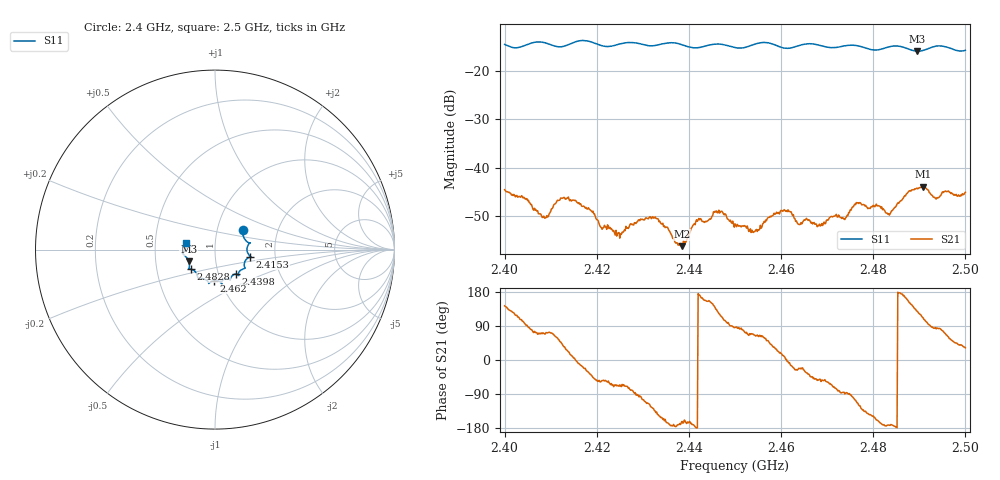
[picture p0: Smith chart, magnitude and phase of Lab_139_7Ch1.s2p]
# Hz S RI R 50
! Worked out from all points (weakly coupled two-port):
!   601 points, 2.4 GHz to 2.5 GHz, reference 50 ohm
!   highest |S21| = -43.96 dB at 2.4908 GHz (marker M1); lowest = -56.3 dB at 2.4385 GHz (marker M2)
!   lowest |S11| = -15.9 dB at 2.4895 GHz (marker M3), VSWR 1.38, Z = 37 - j5 ohm
!   |S11| at or under -10 dB: start of sweep to end of sweep
!   S12 and S22 are empty: the file has one direction only
!   S11 on the Smith chart (normalised r, x): 2.4 GHz: 1.33, +0.30; 2.4153 GHz: 1.48, -0.12; 2.4398 GHz: 1.21, -0.34; 2.462 GHz: 0.93, -0.33; 2.4828 GHz: 0.74, -0.17; 2.5 GHz: 0.72, +0.06
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2.4e9  0.1554 0.1071  -0.00472 0.00356  0 0  0 0
2.4085e9  0.1941 0.0365  0.00105 0.00297  0 0  0 0
2.412e9  0.178 -0.000236  0.00306 0.00346  0 0  0 0
2.415333e9  0.1964 -0.039  0.00459 7.28e-05  0 0  0 0
2.416667e9  0.2025 -0.0428  0.0039 -0.00105  0 0  0 0
2.424833e9  0.1643 -0.0953  0.000753 -0.00199  0 0  0 0
2.433333e9  0.1306 -0.1337  -0.00239 -0.00172  0 0  0 0
2.4385e9  0.1262 -0.1383  -0.00147 -0.000472  0 0  0 0
2.439833e9  0.1153 -0.136  -0.00187 -0.000467  0 0  0 0
2.446e9  0.085 -0.1703  -0.00244 0.0026  0 0  0 0
2.45e9  0.0654 -0.1625  0.00019 0.00261  0 0  0 0
2.454333e9  0.0354 -0.187  0.000918 0.00198  0 0  0 0
2.462e9  -0.00525 -0.173  0.00341 -0.000764  0 0  0 0
2.466667e9  -0.0345 -0.1882  0.00192 -0.00193  0 0  0 0
2.473667e9  -0.0858 -0.1603  0.000253 -0.00292  0 0  0 0
2.476833e9  -0.096 -0.1543  -0.00204 -0.00373  0 0  0 0
2.482833e9  -0.1364 -0.1091  -0.00337 -0.000354  0 0  0 0
2.483333e9  -0.1402 -0.109  -0.00331 -0.000483  0 0  0 0
2.4895e9  -0.1459 -0.0658  -0.00385 0.00477  0 0  0 0
2.490833e9  -0.1562 -0.0475  -0.00229 0.00591  0 0  0 0
2.4935e9  -0.1788 -0.0246  0.000362 0.00479  0 0  0 0
2.5e9  -0.1592 0.0387  0.00473 0.00295  0 0  0 0
